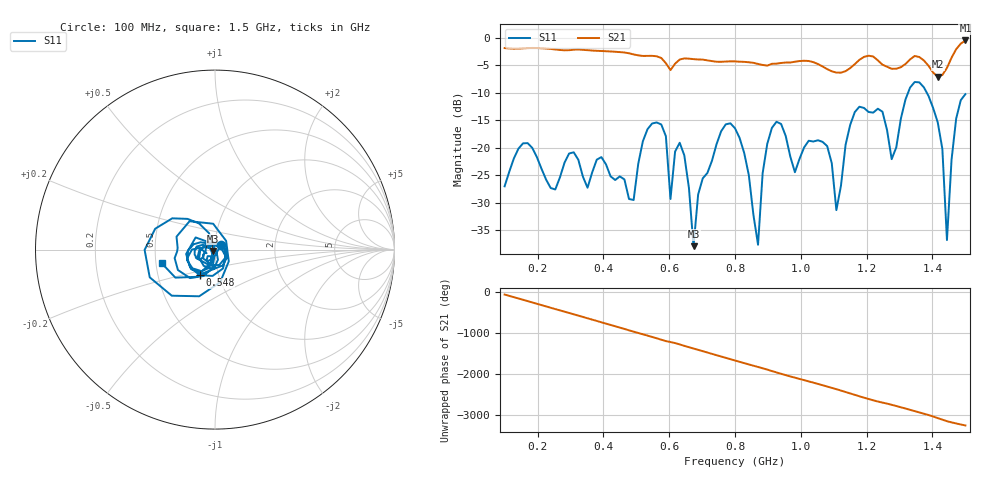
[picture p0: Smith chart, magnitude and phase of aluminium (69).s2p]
! NanoVNA-App
! Date: 2025-09-26 09:58:36
! Start: 100MHz Stop: 1,5GHz Points: 101
! S-Parameter data: F S11 S21 S12 S22
# Hz S RI R 50
!  Frequency  S11_Real  S11_Imag  S21_Real  S21_Imag  S12_Real  S12_Imag  S22_Real  S22_Imag
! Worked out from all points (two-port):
!   101 points, 100 MHz to 1.5 GHz, reference 50 ohm
!   highest |S21| = -0.53 dB at 1.5 GHz (marker M1); lowest = -7.1 dB at 1.416 GHz (marker M2)
!   |S21| within 3 dB of the highest: start of sweep to 567.8 MHz; 1.191 GHz to 1.222 GHz (30.27 MHz wide, 2.51 % of centre)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
!   lowest |S11| = -37.8 dB at 674 MHz (marker M3), VSWR 1.03, Z = 49 - j0.77 ohm
!   |S11| at or under -10 dB: start of sweep to 1.326 GHz; 1.383 GHz to end of sweep
!   S12 and S22 are empty: the file has one direction only
!   S11 on the Smith chart (normalised r, x): 100 MHz: 1.07, +0.06; 548 MHz: 0.81, -0.24; 1.5 GHz: 0.54, -0.09
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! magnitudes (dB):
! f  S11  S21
! 100 MHz  -27.0  -1.9
! 156 MHz  -19.2  -2.0
! 338 MHz  -25.3  -2.2
! 492 MHz  -29.5  -3.1
! 548 MHz  -15.6  -3.3
! 576 MHz  -15.8  -3.7
! 604 MHz  -29.3  -5.9
! 646 MHz  -21.4  -3.8
! 674 MHz  -37.8  -3.9
! 702 MHz  -25.5  -4.0
! 800 MHz  -16.5  -4.3
! 870 MHz  -37.6  -4.8
! 912 MHz  -16.4  -4.8
! 1.038 GHz  -18.9  -4.5
! 1.108 GHz  -31.3  -6.4
! 1.178 GHz  -12.5  -4.0
! 1.276 GHz  -22.1  -5.7
! 1.346 GHz  -8.1  -3.3
! 1.416 GHz  -15.4  -7.1
! 1.444 GHz  -36.7  -5.5
! 1.472 GHz  -14.7  -2.1
! 1.5 GHz  -10.3  -0.5
